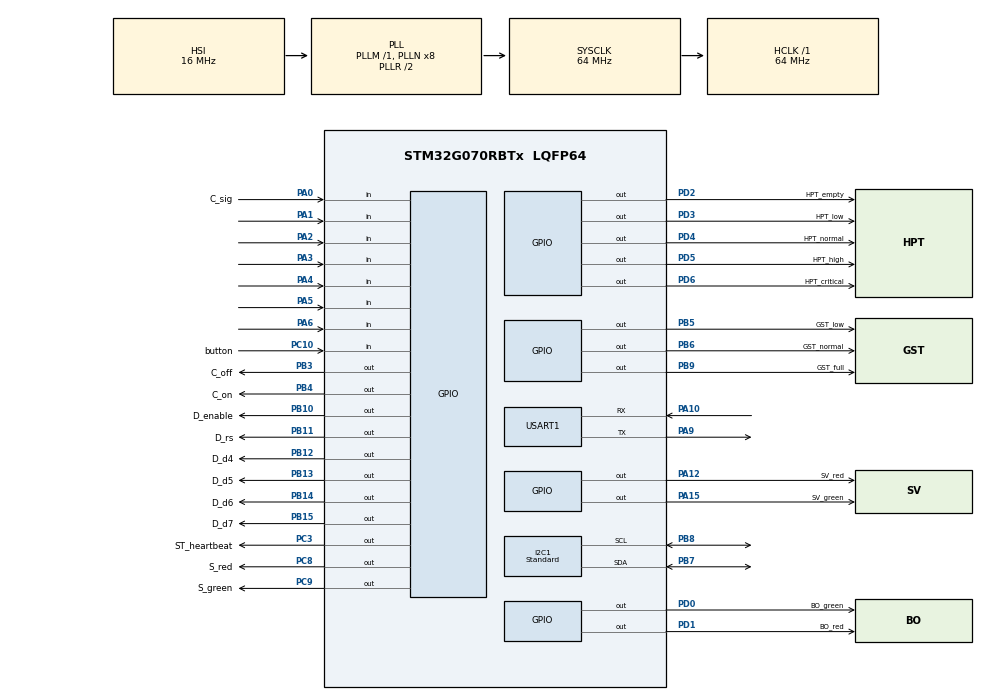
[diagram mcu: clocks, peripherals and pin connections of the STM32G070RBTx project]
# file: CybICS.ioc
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FREERTOS.Tasks01=defaultTask,0,128,FdefaultTask,Default,NULL,Dynamic,NULL,NULL;heartBeat,-3,128,FheartBeat,Default,NULL,Dynamic,NULL,NULL;display,0,128,Fdisplay,Default,NULL,Dynamic,NULL,NULL;physical,1,256,Fphysical,Default,NULL,Dynamic,NULL,NULL;i2chandler,0,128,Fi2chandler,Default,NULL,Dynamic,NULL,NULL
FREERTOS.configTOTAL_HEAP_SIZE=8192
I2C1.CustomTiming=Disabled
I2C1.DualAddressMode=I2C_DUALADDRESS_DISABLE
I2C1.GeneralCallMode=I2C_GENERALCALL_ENABLE
I2C1.I2C_Speed_Mode=I2C_Standard
I2C1.NoStretchMode=I2C_NOSTRETCH_DISABLE
I2C1.OwnAddress=0x20
I2C1.Timing=0x10707DBC
Mcu.Family=STM32G0
Mcu.Name=STM32G070RBTx
Mcu.Package=LQFP64
NVIC.I2C1_IRQn=true\:3\:0\:false\:false\:true\:true\:true\:true\:true
NVIC.TIM1_BRK_UP_TRG_COM_IRQn=true\:3\:0\:false\:false\:true\:false\:false\:true\:true
NVIC.TimeBase=TIM1_BRK_UP_TRG_COM_IRQn
NVIC.TimeBaseIP=TIM1
PA0.GPIO_Label=C_sig
PA0.Signal=GPIO_Input
PA1.Signal=GPIO_Input
PA10.Mode=Asynchronous
PA10.Signal=USART1_RX
PA12\ [PA10].GPIO_Label=SV_red
PA12\ [PA10].Signal=GPIO_Output
PA13.Mode=Serial_Wire
PA13.Signal=SYS_SWDIO
PA14-BOOT0.Mode=Serial_Wire
PA14-BOOT0.Signal=SYS_SWCLK
PA15.GPIO_Label=SV_green
PA15.Signal=GPIO_Output
PA2.Signal=GPIO_Input
PA3.Signal=GPIO_Input
PA4.Signal=GPIO_Input
PA5.Signal=GPIO_Input
PA6.Signal=GPIO_Input
PA9.Mode=Asynchronous
PA9.Signal=USART1_TX
PB10.GPIO_Label=D_enable
PB10.Signal=GPIO_Output
PB11.GPIO_Label=D_rs
PB11.Signal=GPIO_Output
PB12.GPIO_Label=D_d4
PB12.Signal=GPIO_Output
PB13.GPIO_Label=D_d5
PB13.Signal=GPIO_Output
PB14.GPIO_Label=D_d6
PB14.Signal=GPIO_Output
PB15.GPIO_Label=D_d7
PB15.Signal=GPIO_Output
PB3.GPIO_Label=C_off
PB3.Signal=GPIO_Output
PB4.GPIO_Label=C_on
PB4.Signal=GPIO_Output
PB5.GPIO_Label=GST_low
PB5.Signal=GPIO_Output
PB6.GPIO_Label=GST_normal
PB6.Signal=GPIO_Output
PB7.GPIO_Mode=GPIO_MODE_AF_OD
PB7.GPIO_Pu=GPIO_NOPULL
PB7.GPIO_Speed=GPIO_SPEED_FREQ_LOW
PB7.Mode=I2C
PB7.Signal=I2C1_SDA
PB8.GPIO_Mode=GPIO_MODE_AF_OD
PB8.GPIO_Pu=GPIO_NOPULL
PB8.GPIO_Speed=GPIO_SPEED_FREQ_LOW
PB8.Mode=I2C
PB8.Signal=I2C1_SCL
PB9.GPIO_Label=GST_full
PB9.Signal=GPIO_Output
PC10.GPIO_Label=button
PC10.Signal=GPIO_Input
PC3.GPIO_Label=ST_heartbeat
PC3.Signal=GPIO_Output
PC8.GPIO_Label=S_red
PC8.Signal=GPIO_Output
PC9.GPIO_Label=S_green
PC9.Signal=GPIO_Output
PD0.GPIO_Label=BO_green
PD0.Signal=GPIO_Output
PD1.GPIO_Label=BO_red
PD1.Signal=GPIO_Output
PD2.GPIO_Label=HPT_empty
PD2.Signal=GPIO_Output
PD3.GPIO_Label=HPT_low
PD3.Signal=GPIO_Output
PD4.GPIO_Label=HPT_normal
PD4.Signal=GPIO_Output
PD5.GPIO_Label=HPT_high
PD5.Signal=GPIO_Output
PD6.GPIO_Label=HPT_critical
PD6.Signal=GPIO_Output
ProjectManager.HeapSize=0x200
ProjectManager.StackSize=0x400
ProjectManager.TargetToolchain=Makefile
RCC.ADCFreq_Value=64000000
RCC.AHBFreq_Value=64000000
RCC.CortexFreq_Value=64000000
RCC.EXTERNAL_CLOCK_VALUE=48000
RCC.HCLKFreq_Value=64000000
RCC.HSE_VALUE=8000000
RCC.HSI_VALUE=16000000
RCC.LSE_VALUE=32768
RCC.SYSCLKFreq_VALUE=64000000
RCC.SYSCLKSource=RCC_SYSCLKSOURCE_PLLCLK
RCC.VCOOutputFreq_Value=128000000
USART1.VirtualMode-Asynchronous=VM_ASYNC
VP_FREERTOS_VS_CMSIS_V1.Mode=CMSIS_V1
VP_SYS_VS_DBSignals.Mode=DisableDeadBatterySignals
VP_SYS_VS_tim1.Mode=TIM1
board=custom

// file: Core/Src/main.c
/* USER CODE BEGIN Header */
/**
  ******************************************************************************
  * @file           : main.c
  * @brief          : Main program body
  ******************************************************************************
  * @attention
  *
  * Copyright (c) 2023 STMicroelectronics.
  * All rights reserved.
  *
  * This software is licensed under terms that can be found in the LICENSE file
  * in the root directory of this software component.
  * If no LICENSE file comes with this software, it is provided AS-IS.
  *
  ******************************************************************************
  */
/* USER CODE END Header */
#include "main.h"
#include "cmsis_os.h"

/* USER CODE BEGIN Includes */
#include "display.h"

/* USER CODE END Includes */

/* USER CODE BEGIN PTD */
uint8_t RxData[20] = {0,0,0,0,0,0,0,0,0,0,0,0,0,0,0,0,0,0,0,0};
uint8_t TxData[20] = {'E','M','P','T','Y',0,0,0,0,0,0,0,0,0,0,0,0,0,0,0};
char rpiIP[15] = {'U','N','K','N','O','W','N',0,0,0,0,0,0,0,0};
uint8_t GSTpressure=0;
uint8_t HPTpressure=0;

/* USER CODE END PTD */

I2C_HandleTypeDef hi2c1;

UART_HandleTypeDef huart1;

osThreadId defaultTaskHandle;
osThreadId heartBeatHandle;
osThreadId displayHandle;
osThreadId physicalHandle;
osThreadId i2chandlerHandle;

void SystemClock_Config(void);
static void MX_GPIO_Init(void);
static void MX_I2C1_Init(void);
static void MX_USART1_UART_Init(void);
void FdefaultTask(void const * argument);
void FheartBeat(void const * argument);
void Fdisplay(void const * argument);
void Fphysical(void const * argument);
void Fi2chandler(void const * argument);

int main(void)
{

  /* MCU Configuration--------------------------------------------------------*/

  /* Reset of all peripherals, Initializes the Flash interface and the Systick. */
  HAL_Init();

  /* Configure the system clock */
  SystemClock_Config();

  /* Initialize all configured peripherals */
  MX_GPIO_Init();
  MX_I2C1_Init();
  MX_USART1_UART_Init();
  /* USER CODE BEGIN 2 */
  if(HAL_I2C_EnableListen_IT(&hi2c1) != HAL_OK)
  {
    /* Transfer error in reception process */
    Error_Handler();
  }
  /* USER CODE END 2 */

  /* Create the thread(s) */
  /* definition and creation of defaultTask */
  osThreadDef(defaultTask, FdefaultTask, osPriorityNormal, 0, 128);
  defaultTaskHandle = osThreadCreate(osThread(defaultTask), NULL);

  /* definition and creation of heartBeat */
  osThreadDef(heartBeat, FheartBeat, osPriorityIdle, 0, 128);
  heartBeatHandle = osThreadCreate(osThread(heartBeat), NULL);

  /* definition and creation of display */
  osThreadDef(display, Fdisplay, osPriorityNormal, 0, 128);
  displayHandle = osThreadCreate(osThread(display), NULL);

  /* definition and creation of physical */
  osThreadDef(physical, Fphysical, osPriorityAboveNormal, 0, 256);
  physicalHandle = osThreadCreate(osThread(physical), NULL);

  /* definition and creation of i2chandler */
  osThreadDef(i2chandler, Fi2chandler, osPriorityNormal, 0, 128);
  i2chandlerHandle = osThreadCreate(osThread(i2chandler), NULL);

  /* Start scheduler */
  osKernelStart();

  /* We should never get here as control is now taken by the scheduler */
  /* Infinite loop */
  while (1)
  {

  }
}

void SystemClock_Config(void)
{
  RCC_OscInitTypeDef RCC_OscInitStruct = {0};
  RCC_ClkInitTypeDef RCC_ClkInitStruct = {0};

  /** Configure the main internal regulator output voltage
  */
  HAL_PWREx_ControlVoltageScaling(PWR_REGULATOR_VOLTAGE_SCALE1);

  /** Initializes the RCC Oscillators according to the specified parameters
  * in the RCC_OscInitTypeDef structure.
  */
  RCC_OscInitStruct.OscillatorType = RCC_OSCILLATORTYPE_HSI;
  RCC_OscInitStruct.HSIState = RCC_HSI_ON;
  RCC_OscInitStruct.HSIDiv = RCC_HSI_DIV1;
  RCC_OscInitStruct.HSICalibrationValue = RCC_HSICALIBRATION_DEFAULT;
  RCC_OscInitStruct.PLL.PLLState = RCC_PLL_ON;
  RCC_OscInitStruct.PLL.PLLSource = RCC_PLLSOURCE_HSI;
  RCC_OscInitStruct.PLL.PLLM = RCC_PLLM_DIV1;
  RCC_OscInitStruct.PLL.PLLN = 8;
  RCC_OscInitStruct.PLL.PLLP = RCC_PLLP_DIV2;
  RCC_OscInitStruct.PLL.PLLR = RCC_PLLR_DIV2;
  if (HAL_RCC_OscConfig(&RCC_OscInitStruct) != HAL_OK)
  {
    Error_Handler();
  }

  /** Initializes the CPU, AHB and APB buses clocks
  */
  RCC_ClkInitStruct.ClockType = RCC_CLOCKTYPE_HCLK|RCC_CLOCKTYPE_SYSCLK
                              |RCC_CLOCKTYPE_PCLK1;
  RCC_ClkInitStruct.SYSCLKSource = RCC_SYSCLKSOURCE_PLLCLK;
  RCC_ClkInitStruct.AHBCLKDivider = RCC_SYSCLK_DIV1;
  RCC_ClkInitStruct.APB1CLKDivider = RCC_HCLK_DIV1;

  if (HAL_RCC_ClockConfig(&RCC_ClkInitStruct, FLASH_LATENCY_2) != HAL_OK)
  {
    Error_Handler();
  }
}

static void MX_I2C1_Init(void)
{

  hi2c1.Instance = I2C1;
  hi2c1.Init.Timing = 0x10707DBC;
  hi2c1.Init.OwnAddress1 = 64;
  hi2c1.Init.AddressingMode = I2C_ADDRESSINGMODE_7BIT;
  hi2c1.Init.DualAddressMode = I2C_DUALADDRESS_DISABLE;
  hi2c1.Init.OwnAddress2 = 0;
  hi2c1.Init.OwnAddress2Masks = I2C_OA2_NOMASK;
  hi2c1.Init.GeneralCallMode = I2C_GENERALCALL_ENABLE;
  hi2c1.Init.NoStretchMode = I2C_NOSTRETCH_DISABLE;
  if (HAL_I2C_Init(&hi2c1) != HAL_OK)
  {
    Error_Handler();
  }

  /** Configure Analogue filter
  */
  if (HAL_I2CEx_ConfigAnalogFilter(&hi2c1, I2C_ANALOGFILTER_ENABLE) != HAL_OK)
  {
    Error_Handler();
  }

  /** Configure Digital filter
  */
  if (HAL_I2CEx_ConfigDigitalFilter(&hi2c1, 0) != HAL_OK)
  {
    Error_Handler();
  }

}

static void MX_USART1_UART_Init(void)
{

  huart1.Instance = USART1;
  huart1.Init.BaudRate = 115200;
  huart1.Init.WordLength = UART_WORDLENGTH_8B;
  huart1.Init.StopBits = UART_STOPBITS_1;
  huart1.Init.Parity = UART_PARITY_NONE;
  huart1.Init.Mode = UART_MODE_TX_RX;
  huart1.Init.HwFlowCtl = UART_HWCONTROL_NONE;
  huart1.Init.OverSampling = UART_OVERSAMPLING_16;
  huart1.Init.OneBitSampling = UART_ONE_BIT_SAMPLE_DISABLE;
  huart1.Init.ClockPrescaler = UART_PRESCALER_DIV1;
  huart1.AdvancedInit.AdvFeatureInit = UART_ADVFEATURE_NO_INIT;
  if (HAL_UART_Init(&huart1) != HAL_OK)
  {
    Error_Handler();
  }
  if (HAL_UARTEx_SetTxFifoThreshold(&huart1, UART_TXFIFO_THRESHOLD_1_8) != HAL_OK)
  {
    Error_Handler();
  }
  if (HAL_UARTEx_SetRxFifoThreshold(&huart1, UART_RXFIFO_THRESHOLD_1_8) != HAL_OK)
  {
    Error_Handler();
  }
  if (HAL_UARTEx_DisableFifoMode(&huart1) != HAL_OK)
  {
    Error_Handler();
  }

}

static void MX_GPIO_Init(void)
{
  GPIO_InitTypeDef GPIO_InitStruct = {0};

  /* GPIO Ports Clock Enable */
  __HAL_RCC_GPIOC_CLK_ENABLE();
  __HAL_RCC_GPIOA_CLK_ENABLE();
  __HAL_RCC_GPIOB_CLK_ENABLE();
  __HAL_RCC_GPIOD_CLK_ENABLE();

  /*Configure GPIO pin Output Level */
  HAL_GPIO_WritePin(GPIOC, ST_heartbeat_Pin|S_red_Pin|S_green_Pin, GPIO_PIN_RESET);

  /*Configure GPIO pin Output Level */
  HAL_GPIO_WritePin(GPIOB, D_enable_Pin|D_rs_Pin|D_d4_Pin|D_d5_Pin
                          |D_d6_Pin|D_d7_Pin|C_off_Pin|C_on_Pin
                          |GST_low_Pin|GST_normal_Pin|GST_full_Pin, GPIO_PIN_RESET);

  /*Configure GPIO pin Output Level */
  HAL_GPIO_WritePin(GPIOA, SV_red_Pin|SV_green_Pin, GPIO_PIN_RESET);

  /*Configure GPIO pin Output Level */
  HAL_GPIO_WritePin(GPIOD, BO_green_Pin|BO_red_Pin|HPT_empty_Pin|HPT_low_Pin
                          |HPT_normal_Pin|HPT_high_Pin|HPT_critical_Pin, GPIO_PIN_RESET);

  /*Configure GPIO pins : ST_heartbeat_Pin S_red_Pin S_green_Pin */
  GPIO_InitStruct.Pin = ST_heartbeat_Pin|S_red_Pin|S_green_Pin;
  GPIO_InitStruct.Mode = GPIO_MODE_OUTPUT_PP;
  GPIO_InitStruct.Pull = GPIO_NOPULL;
  GPIO_InitStruct.Speed = GPIO_SPEED_FREQ_LOW;
  HAL_GPIO_Init(GPIOC, &GPIO_InitStruct);

  /*Configure GPIO pins : C_sig_Pin PA1 PA2 PA3
                           PA4 PA5 PA6 */
  GPIO_InitStruct.Pin = C_sig_Pin|GPIO_PIN_1|GPIO_PIN_2|GPIO_PIN_3
                          |GPIO_PIN_4|GPIO_PIN_5|GPIO_PIN_6;
  GPIO_InitStruct.Mode = GPIO_MODE_INPUT;
  GPIO_InitStruct.Pull = GPIO_NOPULL;
  HAL_GPIO_Init(GPIOA, &GPIO_InitStruct);

  /*Configure GPIO pins : D_enable_Pin D_rs_Pin D_d4_Pin D_d5_Pin
                           D_d6_Pin D_d7_Pin C_off_Pin C_on_Pin
                           GST_low_Pin GST_normal_Pin GST_full_Pin */
  GPIO_InitStruct.Pin = D_enable_Pin|D_rs_Pin|D_d4_Pin|D_d5_Pin
                          |D_d6_Pin|D_d7_Pin|C_off_Pin|C_on_Pin
                          |GST_low_Pin|GST_normal_Pin|GST_full_Pin;
  GPIO_InitStruct.Mode = GPIO_MODE_OUTPUT_PP;
  GPIO_InitStruct.Pull = GPIO_NOPULL;
  GPIO_InitStruct.Speed = GPIO_SPEED_FREQ_LOW;
  HAL_GPIO_Init(GPIOB, &GPIO_InitStruct);

  /*Configure GPIO pins : SV_red_Pin SV_green_Pin */
  GPIO_InitStruct.Pin = SV_red_Pin|SV_green_Pin;
  GPIO_InitStruct.Mode = GPIO_MODE_OUTPUT_PP;
  GPIO_InitStruct.Pull = GPIO_NOPULL;
  GPIO_InitStruct.Speed = GPIO_SPEED_FREQ_LOW;
  HAL_GPIO_Init(GPIOA, &GPIO_InitStruct);

  /*Configure GPIO pins : BO_green_Pin BO_red_Pin HPT_empty_Pin HPT_low_Pin
                           HPT_normal_Pin HPT_high_Pin HPT_critical_Pin */
  GPIO_InitStruct.Pin = BO_green_Pin|BO_red_Pin|HPT_empty_Pin|HPT_low_Pin
                          |HPT_normal_Pin|HPT_high_Pin|HPT_critical_Pin;
  GPIO_InitStruct.Mode = GPIO_MODE_OUTPUT_PP;
  GPIO_InitStruct.Pull = GPIO_NOPULL;
  GPIO_InitStruct.Speed = GPIO_SPEED_FREQ_LOW;
  HAL_GPIO_Init(GPIOD, &GPIO_InitStruct);

  /*Configure GPIO pin : button_Pin */
  GPIO_InitStruct.Pin = button_Pin;
  GPIO_InitStruct.Mode = GPIO_MODE_INPUT;
  GPIO_InitStruct.Pull = GPIO_NOPULL;
  HAL_GPIO_Init(button_GPIO_Port, &GPIO_InitStruct);

}

/* USER CODE BEGIN 4 */
void HAL_I2C_ListenCpltCallback (I2C_HandleTypeDef *hi2c)
{
	HAL_I2C_EnableListen_IT(hi2c);
}

void HAL_I2C_AddrCallback(I2C_HandleTypeDef *hi2c, uint8_t TransferDirection, uint16_t AddrMatchCode)
{
	if(TransferDirection == I2C_DIRECTION_TRANSMIT)  // if the master wants to transmit the data
	{
		HAL_I2C_Slave_Sequential_Receive_IT(hi2c, RxData, sizeof(RxData), I2C_FIRST_AND_LAST_FRAME);
	}
	else  // master requesting the data is not supported yet
	{
		HAL_I2C_Slave_Sequential_Transmit_IT(hi2c, TxData, sizeof(TxData), I2C_LAST_FRAME);
	}
}

void HAL_I2C_SlaveRxCpltCallback(I2C_HandleTypeDef *hi2c)
{

}

void HAL_I2C_ErrorCallback(I2C_HandleTypeDef *hi2c)
{
	HAL_I2C_EnableListen_IT(hi2c);
}
/* USER CODE END 4 */

void FdefaultTask(void const * argument)
{
  for(;;)
  {
    osDelay(1);
  }
}

void FheartBeat(void const * argument)
{
  /* USER CODE BEGIN FheartBeat */
  /* Infinite loop */
  for(;;)
  {
    HAL_GPIO_TogglePin(ST_heartbeat_GPIO_Port, ST_heartbeat_Pin);
    osDelay(1000);
  }
  /* USER CODE END FheartBeat */
}

void Fdisplay(void const * argument)
{
  /* USER CODE BEGIN Fdisplay */
  uint8_t shifting=0;
  Lcd_PortType ports[] = {
		  D_d4_GPIO_Port, D_d5_GPIO_Port, D_d6_GPIO_Port, D_d7_GPIO_Port
  };

  Lcd_PinType pins[] = {D_d4_Pin, D_d5_Pin, D_d6_Pin, D_d7_Pin};

  Lcd_HandleTypeDef lcd = Lcd_create(ports, pins, D_rs_GPIO_Port, D_rs_Pin, D_enable_GPIO_Port, D_enable_Pin, LCD_4_BIT_MODE);
  uint32_t secondsAfterStart = 0;
  char displayText[20];
  Lcd_string(&lcd, "CybICS v0.1");
  /* Infinite loop */
  for(;;)
  {
    snprintf(displayText, sizeof(displayText), "%li", ++secondsAfterStart);
    Lcd_cursor(&lcd, 0, 12);
    Lcd_string(&lcd, displayText);
    snprintf(displayText, sizeof(displayText), "IP: %s ", &rpiIP[shifting]);
    Lcd_cursor(&lcd, 1, 0);
    Lcd_string(&lcd, displayText);

    if(strlen(rpiIP)>12)
    {
      shifting++;
    }
    if(shifting>3)
    {
      shifting=0;
    }
    osDelay(1000);
  }
  /* USER CODE END Fdisplay */
}

void Fphysical(void const * argument)
{
  /* USER CODE BEGIN Fphysical */
  uint8_t HPTuse=0;

  // clear Gas Storage Tank LEDs
  HAL_GPIO_WritePin(GST_full_GPIO_Port, GST_full_Pin, GPIO_PIN_SET);
  HAL_GPIO_WritePin(GST_normal_GPIO_Port, GST_normal_Pin, GPIO_PIN_SET);
  HAL_GPIO_WritePin(GST_low_GPIO_Port, GST_low_Pin, GPIO_PIN_SET);

  // clear Compressor LEDs
  HAL_GPIO_WritePin(C_on_GPIO_Port, C_on_Pin, GPIO_PIN_SET);
  HAL_GPIO_WritePin(C_off_GPIO_Port, C_off_Pin, GPIO_PIN_SET);

  // clear High Pressure Tank LEDs
  HAL_GPIO_WritePin(HPT_critical_GPIO_Port, HPT_critical_Pin, GPIO_PIN_SET);
  HAL_GPIO_WritePin(HPT_high_GPIO_Port, HPT_high_Pin, GPIO_PIN_SET);
  HAL_GPIO_WritePin(HPT_normal_GPIO_Port, HPT_normal_Pin, GPIO_PIN_SET);
  HAL_GPIO_WritePin(HPT_low_GPIO_Port, HPT_low_Pin, GPIO_PIN_SET);
  HAL_GPIO_WritePin(HPT_empty_GPIO_Port, HPT_empty_Pin, GPIO_PIN_SET);

  // clear Blow Out LEDs
  HAL_GPIO_WritePin(BO_red_GPIO_Port, BO_red_Pin, GPIO_PIN_SET);
  HAL_GPIO_WritePin(BO_green_GPIO_Port, BO_green_Pin, GPIO_PIN_SET);

  // clear System Valve LEDs
  HAL_GPIO_WritePin(SV_red_GPIO_Port, SV_red_Pin, GPIO_PIN_SET);
  HAL_GPIO_WritePin(SV_green_GPIO_Port, SV_green_Pin, GPIO_PIN_SET);

  // clear System LEDs
  HAL_GPIO_WritePin(S_red_GPIO_Port, S_red_Pin, GPIO_PIN_SET);
  HAL_GPIO_WritePin(S_green_GPIO_Port, S_green_Pin, GPIO_PIN_SET);

  GPIO_PinState buttonState;
  GPIO_PinState cState;

  uint16_t HPTdelay=0;
  /* Infinite loop */
  for(;;)
  {
    //GPIO_PinState buttonState = HAL_GPIO_ReadPin(button_GPIO_Port, button_Pin);
    GPIO_PinState cState = HAL_GPIO_ReadPin(C_sig_GPIO_Port, C_sig_Pin);
    /**
     * When compressor is running:
     * - Increase HPT pressure
     * - LED Compressor should be green
    */
    if(cState)
    {
      HAL_GPIO_WritePin(C_on_GPIO_Port, C_on_Pin, GPIO_PIN_RESET);
      HAL_GPIO_WritePin(C_off_GPIO_Port, C_off_Pin, GPIO_PIN_SET);
      if(HPTdelay>100) // increase pressure 1 per second
      {
        if(HPTpressure<255)
        {
          HPTpressure++;
        }
        HPTdelay=0;
      }

    }
    else
    {
      HAL_GPIO_WritePin(C_on_GPIO_Port, C_on_Pin, GPIO_PIN_SET);
      HAL_GPIO_WritePin(C_off_GPIO_Port, C_off_Pin, GPIO_PIN_RESET);
      if(HPTdelay>100) // decrease pressure 1 per second
      {
        HPTuse = rand() % 5;
        if((HPTpressure-HPTuse)>=0)
        {
          HPTpressure = HPTpressure - HPTuse;
        }
        HPTdelay=0;
      }
    }

    if(HPTpressure<20)
    {
      HAL_GPIO_WritePin(HPT_critical_GPIO_Port, HPT_critical_Pin, GPIO_PIN_SET);
      HAL_GPIO_WritePin(HPT_high_GPIO_Port, HPT_high_Pin, GPIO_PIN_SET);
      HAL_GPIO_WritePin(HPT_normal_GPIO_Port, HPT_normal_Pin, GPIO_PIN_SET);
      HAL_GPIO_WritePin(HPT_low_GPIO_Port, HPT_low_Pin, GPIO_PIN_SET);
      HAL_GPIO_WritePin(HPT_empty_GPIO_Port, HPT_empty_Pin, GPIO_PIN_RESET);
    }
    else if (HPTpressure<50)
    {
      HAL_GPIO_WritePin(HPT_critical_GPIO_Port, HPT_critical_Pin, GPIO_PIN_SET);
      HAL_GPIO_WritePin(HPT_high_GPIO_Port, HPT_high_Pin, GPIO_PIN_SET);
      HAL_GPIO_WritePin(HPT_normal_GPIO_Port, HPT_normal_Pin, GPIO_PIN_SET);
      HAL_GPIO_WritePin(HPT_low_GPIO_Port, HPT_low_Pin, GPIO_PIN_RESET);
      HAL_GPIO_WritePin(HPT_empty_GPIO_Port, HPT_empty_Pin, GPIO_PIN_SET);
    }
    else if (HPTpressure<100)
    {
      HAL_GPIO_WritePin(HPT_critical_GPIO_Port, HPT_critical_Pin, GPIO_PIN_SET);
      HAL_GPIO_WritePin(HPT_high_GPIO_Port, HPT_high_Pin, GPIO_PIN_SET);
      HAL_GPIO_WritePin(HPT_normal_GPIO_Port, HPT_normal_Pin, GPIO_PIN_RESET);
      HAL_GPIO_WritePin(HPT_low_GPIO_Port, HPT_low_Pin, GPIO_PIN_SET);
      HAL_GPIO_WritePin(HPT_empty_GPIO_Port, HPT_empty_Pin, GPIO_PIN_SET);
    }
    else if (HPTpressure<150)
    {
      HAL_GPIO_WritePin(HPT_critical_GPIO_Port, HPT_critical_Pin, GPIO_PIN_SET);
      HAL_GPIO_WritePin(HPT_high_GPIO_Port, HPT_high_Pin, GPIO_PIN_RESET);
      HAL_GPIO_WritePin(HPT_normal_GPIO_Port, HPT_normal_Pin, GPIO_PIN_SET);
      HAL_GPIO_WritePin(HPT_low_GPIO_Port, HPT_low_Pin, GPIO_PIN_SET);
      HAL_GPIO_WritePin(HPT_empty_GPIO_Port, HPT_empty_Pin, GPIO_PIN_SET);
    }
    else
    {
      HAL_GPIO_WritePin(HPT_critical_GPIO_Port, HPT_critical_Pin, GPIO_PIN_RESET);
      HAL_GPIO_WritePin(HPT_high_GPIO_Port, HPT_high_Pin, GPIO_PIN_SET);
      HAL_GPIO_WritePin(HPT_normal_GPIO_Port, HPT_normal_Pin, GPIO_PIN_SET);
      HAL_GPIO_WritePin(HPT_low_GPIO_Port, HPT_low_Pin, GPIO_PIN_SET);
      HAL_GPIO_WritePin(HPT_empty_GPIO_Port, HPT_empty_Pin, GPIO_PIN_SET);
    }

    /**
     * Blowout if the HPTpressure if over 200
    */
    if(HPTpressure>200)
    {
      HAL_GPIO_WritePin(BO_red_GPIO_Port, BO_red_Pin, GPIO_PIN_RESET);
      HAL_GPIO_WritePin(BO_green_GPIO_Port, BO_green_Pin, GPIO_PIN_SET);
      if(HPTdelay>100) // decrease pressure 1 per second
      {
        HPTuse = rand() % 20;
        if((HPTpressure-HPTuse)>=0)
        {
          HPTpressure = HPTpressure - HPTuse;
        }
        HPTdelay=0;
      }
    }
    else
    {
      HAL_GPIO_WritePin(BO_red_GPIO_Port, BO_red_Pin, GPIO_PIN_SET);
      HAL_GPIO_WritePin(BO_green_GPIO_Port, BO_green_Pin, GPIO_PIN_RESET);
    }

    /**
     * System operating, when pressure is in normal range
    */
    if((HPTpressure>50) && (HPTpressure<100))
    {
      HAL_GPIO_WritePin(S_red_GPIO_Port, S_red_Pin, GPIO_PIN_SET);
      HAL_GPIO_WritePin(S_green_GPIO_Port, S_green_Pin, GPIO_PIN_RESET);
    }
    else
    {
      HAL_GPIO_WritePin(S_red_GPIO_Port, S_red_Pin, GPIO_PIN_RESET);
      HAL_GPIO_WritePin(S_green_GPIO_Port, S_green_Pin, GPIO_PIN_SET);
    }

    GSTpressure = rand();
    /**
     * Set the right values in the TX Data:
     * - GSTTpressure
     * - HPTpressure
     * Format: GST: %03d HPT: %03d
    */
    snprintf(TxData, sizeof(TxData), "GST: %03d HPT: %03d", GSTpressure, HPTpressure);

    HPTdelay = HPTdelay+1;
    osDelay(10);
  }
  /* USER CODE END Fphysical */
}

void Fi2chandler(void const * argument)
{
  /* USER CODE BEGIN Fi2chandler */
  /* Infinite loop */
  for(;;)
  {
    if(RxData[1]=='I' && RxData[2]=='P')
    {
      for(u_int8_t counter=0; counter<sizeof(rpiIP); counter++)
      {
        rpiIP[counter] = RxData[counter+4];
      }
    }

    osDelay(100);
  }
  /* USER CODE END Fi2chandler */
}

void HAL_TIM_PeriodElapsedCallback(TIM_HandleTypeDef *htim)
{
  if (htim->Instance == TIM1) {
    HAL_IncTick();
  }
}

void Error_Handler(void)
{
  __disable_irq();
  while (1)
  {
  }
}
